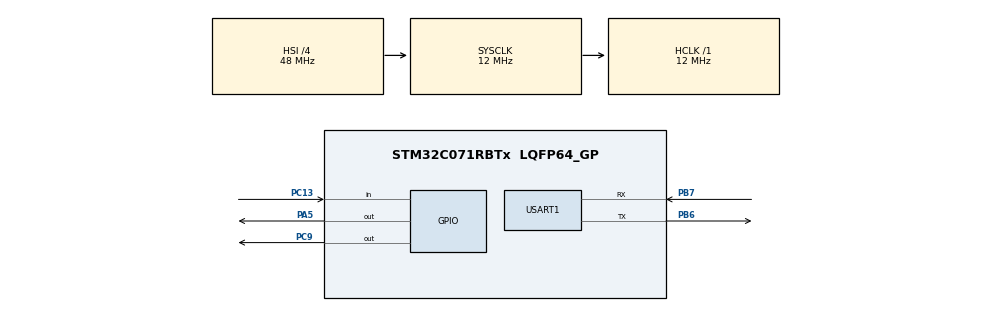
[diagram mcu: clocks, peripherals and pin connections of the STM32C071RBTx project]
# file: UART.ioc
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Mcu.Family=STM32C0
Mcu.Name=STM32C071RBTx
Mcu.Package=LQFP64_GP
NUCLEO-C071RB.BUTTON=1
NUCLEO-C071RB.LD1=true
NUCLEO-C071RB.LD2=true
NUCLEO-C071RB.VCP=true
NVIC.EXTI4_15_IRQn=true\:0\:0\:false\:false\:true\:false\:true\:true
PA2.Signal=USART2_TX
PA3.Signal=USART2_RX
PA5.Signal=GPIO_Output
PB6.Mode=Asynchronous
PB6.Signal=USART1_TX
PB7.Mode=Asynchronous
PB7.Signal=USART1_RX
PC13.Signal=GPIO_Input
PC9.Signal=GPIO_Output
PF0-OSC_IN(PF0).Mode=HSE-External-Oscillator
PF0-OSC_IN(PF0).Signal=RCC_OSC_IN
PF1-OSC_OUT(PF1).Mode=HSE-External-Oscillator
PF1-OSC_OUT(PF1).Signal=RCC_OSC_OUT
ProjectManager.HeapSize=0x200
ProjectManager.StackSize=0x400
ProjectManager.TargetToolchain=STM32CubeIDE
RCC.ADCFreq_Value=12000000
RCC.AHBFreq_Value=12000000
RCC.CortexFreq_Value=12000000
RCC.EXTERNAL_CLOCK_VALUE=12288000
RCC.HCLKFreq_Value=12000000
RCC.HSE_VALUE=8000000
RCC.HSI48_VALUE=48000000
RCC.HSI_VALUE=48000000
RCC.LSE_VALUE=32768
RCC.SYSCLKFreq_VALUE=12000000
USART1.VirtualMode-Asynchronous=VM_ASYNC
VP_NUCLEO-C071RB_VS_BSP_COMMON.Mode=COMMON
board=NUCLEO-C071RB

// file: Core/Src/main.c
/* USER CODE BEGIN Header */
/**
  ******************************************************************************
  * @file           : main.c
  * @brief          : USART1 Loopback Test for NUCLEO-C071RB
  ******************************************************************************
  */
/* USER CODE END Header */

#include "main.h"

/* USER CODE BEGIN Includes */
#include <string.h>
/* USER CODE END Includes */

COM_InitTypeDef BspCOMInit;

UART_HandleTypeDef huart1;

/* USER CODE BEGIN PV */
uint8_t tx_byte = 0;
uint8_t rx_byte = 0;

volatile uint8_t loopback_ok = 0;
volatile HAL_StatusTypeDef uart_status = HAL_OK;
volatile uint16_t tx_count = 0;
volatile uint16_t rx_count = 0;
volatile uint8_t fail_reason = 0;

volatile char tx_string[32] = {0};
volatile char rx_string[32] = {0};
/* USER CODE END PV */

void SystemClock_Config(void);
static void MX_GPIO_Init(void);
static void MX_USART1_UART_Init(void);

int main(void)
{

  /* MCU Configuration--------------------------------------------------------*/

  HAL_Init();

  SystemClock_Config();

  MX_GPIO_Init();
  MX_USART1_UART_Init();

  /* USER CODE BEGIN 2 */

  uint8_t txData[] = "Hello USART1 Loopback\r\n";

//  uint8_t rxData[sizeof(txData)] = {0};
  strcpy((char *)tx_string, (char *)txData);

  /* Initialize LEDs */
  BSP_LED_Init(LED_GREEN);
  BSP_LED_Init(LED_BLUE);

  /* Initialize USER push-button */
  BSP_PB_Init(BUTTON_USER, BUTTON_MODE_EXTI);

  /*
   * Optional COM1 initialization.
   * This is for the Nucleo board virtual COM setup.
   * USART1 loopback still uses huart1.
   */
  BspCOMInit.BaudRate   = 115200;
  BspCOMInit.WordLength = COM_WORDLENGTH_8B;
  BspCOMInit.StopBits   = COM_STOPBITS_1;
  BspCOMInit.Parity     = COM_PARITY_NONE;
  BspCOMInit.HwFlowCtl  = COM_HWCONTROL_NONE;

  if (BSP_COM_Init(COM1, &BspCOMInit) != BSP_ERROR_NONE)
  {
    Error_Handler();
  }

  /* USER CODE END 2 */

  /* Infinite loop */
  /* USER CODE BEGIN WHILE */
//  while (1)
//  {
//      memset(rxData, 0, sizeof(rxData));
//      memset((char *)rx_string, 0, sizeof(rx_string));
//
//      loopback_ok = 1;
//      uart_status = HAL_OK;
//      tx_count = 0;
//      rx_count = 0;
//      fail_reason = 0;
//
//      for (uint16_t i = 0; i < sizeof(txData) - 1; i++)
//      {
//          tx_byte = txData[i];
//          rx_byte = 0;
//
//          uart_status = HAL_UART_Transmit(&huart1, &tx_byte, 1, 100);
//
//          if (uart_status != HAL_OK)
//          {
//              loopback_ok = 0;
//              fail_reason = 1;   // TX failed
//              break;
//          }
//
//          tx_count++;
//
//          uart_status = HAL_UART_Receive(&huart1, &rx_byte, 1, 100);
//
//          if (uart_status != HAL_OK)
//          {
//              loopback_ok = 0;
//              fail_reason = 2;   // RX timeout/error
//              break;
//          }
//
//          rx_count++;
//          rxData[i] = rx_byte;
//
//          /*
//           * Copy received byte into global string
//           * so it can be watched easily in Live Expressions.
//           */
//          rx_string[i] = (char)rx_byte;
//          rx_string[i + 1] = '\0';
//
//          if (rx_byte != tx_byte)
//          {
//              loopback_ok = 0;
//              fail_reason = 3;   // RX data mismatch
//              break;
//          }
//      }
//
//      if (loopback_ok == 1)
//      {
//          BSP_LED_Toggle(LED_GREEN);
//          HAL_Delay(500);
//      }
//      else
//      {
//          BSP_LED_Toggle(LED_BLUE);
//          HAL_Delay(100);
//      }
//
//      /* USER CODE END WHILE */
//
//      /* USER CODE BEGIN 3 */
//  }
  /* USER CODE END 3 */
  /* Infinite loop */
  /* USER CODE BEGIN WHILE */
  while (1)
  {
      uart_status = HAL_UART_Transmit(&huart1, txData, sizeof(txData) - 1, 1000);

      if (uart_status == HAL_OK)
      {
          tx_count++;
          loopback_ok = 1;
          BSP_LED_Toggle(LED_GREEN);
      }
      else
      {
          loopback_ok = 0;
          BSP_LED_Toggle(LED_BLUE);
      }

      HAL_Delay(1000);

      /* USER CODE END WHILE */

  }
}
void SystemClock_Config(void)
{
  RCC_OscInitTypeDef RCC_OscInitStruct = {0};
  RCC_ClkInitTypeDef RCC_ClkInitStruct = {0};

  __HAL_FLASH_SET_LATENCY(FLASH_LATENCY_0);

  RCC_OscInitStruct.OscillatorType = RCC_OSCILLATORTYPE_HSI;
  RCC_OscInitStruct.HSIState = RCC_HSI_ON;
  RCC_OscInitStruct.HSIDiv = RCC_HSI_DIV4;
  RCC_OscInitStruct.HSICalibrationValue = RCC_HSICALIBRATION_DEFAULT;

  if (HAL_RCC_OscConfig(&RCC_OscInitStruct) != HAL_OK)
  {
    Error_Handler();
  }

  RCC_ClkInitStruct.ClockType = RCC_CLOCKTYPE_HCLK |
                                RCC_CLOCKTYPE_SYSCLK |
                                RCC_CLOCKTYPE_PCLK1;

  RCC_ClkInitStruct.SYSCLKSource = RCC_SYSCLKSOURCE_HSI;
  RCC_ClkInitStruct.SYSCLKDivider = RCC_SYSCLK_DIV1;
  RCC_ClkInitStruct.AHBCLKDivider = RCC_HCLK_DIV1;
  RCC_ClkInitStruct.APB1CLKDivider = RCC_APB1_DIV1;

  if (HAL_RCC_ClockConfig(&RCC_ClkInitStruct, FLASH_LATENCY_0) != HAL_OK)
  {
    Error_Handler();
  }
}

static void MX_USART1_UART_Init(void)
{

  huart1.Instance = USART1;
  huart1.Init.BaudRate = 115200;
  huart1.Init.WordLength = UART_WORDLENGTH_8B;
  huart1.Init.StopBits = UART_STOPBITS_1;
  huart1.Init.Parity = UART_PARITY_NONE;
  huart1.Init.Mode = UART_MODE_TX_RX;
  huart1.Init.HwFlowCtl = UART_HWCONTROL_NONE;
  huart1.Init.OverSampling = UART_OVERSAMPLING_16;
  huart1.Init.OneBitSampling = UART_ONE_BIT_SAMPLE_DISABLE;
  huart1.Init.ClockPrescaler = UART_PRESCALER_DIV1;
  huart1.AdvancedInit.AdvFeatureInit = UART_ADVFEATURE_NO_INIT;

  if (HAL_UART_Init(&huart1) != HAL_OK)
  {
    Error_Handler();
  }

  if (HAL_UARTEx_SetTxFifoThreshold(&huart1, UART_TXFIFO_THRESHOLD_1_8) != HAL_OK)
  {
    Error_Handler();
  }

  if (HAL_UARTEx_SetRxFifoThreshold(&huart1, UART_RXFIFO_THRESHOLD_1_8) != HAL_OK)
  {
    Error_Handler();
  }

  if (HAL_UARTEx_DisableFifoMode(&huart1) != HAL_OK)
  {
    Error_Handler();
  }

}

static void MX_GPIO_Init(void)
{

  /* GPIO Ports Clock Enable */
  __HAL_RCC_GPIOF_CLK_ENABLE();
  __HAL_RCC_GPIOA_CLK_ENABLE();
  __HAL_RCC_GPIOB_CLK_ENABLE();

}

void Error_Handler(void)
{
  /* USER CODE BEGIN Error_Handler_Debug */
  __disable_irq();

  while (1)
  {
    BSP_LED_Toggle(LED_BLUE);
    HAL_Delay(200);
  }

  /* USER CODE END Error_Handler_Debug */
}

#ifdef USE_FULL_ASSERT

/**
  * @brief  Reports the name of the source file and the source line number
  *         where the assert_param error has occurred.
  * @param  file: pointer to the source file name
  * @param  line: assert_param error line source number
  * @retval None
  */
void assert_failed(uint8_t *file, uint32_t line)
{
  /* USER CODE BEGIN 6 */
  (void)file;
  (void)line;
  /* USER CODE END 6 */
}

#endif /* USE_FULL_ASSERT */
